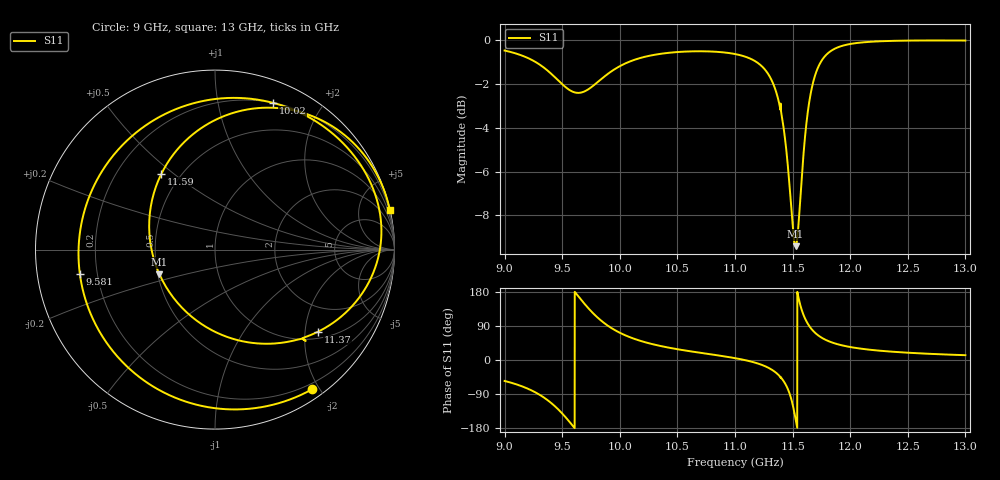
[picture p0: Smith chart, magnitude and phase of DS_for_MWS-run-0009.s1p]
! TOUCHSTONE file generated by CST DESIGN STUDIO
! Date and time: Tue Feb  4 13:54:33 2025
! Project name: C:\Work\MatlabApps\UnitCellOptimizationMatlab\CST\unitcell.cst
! Tree item: Tasks\Sweep1\SPara1\S-Parameters
! Header version: 2024
! Port assignment regex: !\s*Touchstone port\s*([0-9]+)\s*=\s*(CST MWS port|CST DES external port|CST DES block port)\s*(.+)\s* \(\"(.*)\"\)(\s*mode\s*([0-9]+))?.*
! Touchstone port assignment:
! Touchstone port 1 = CST DES external port 1 ("")
# GHz S MA R 50
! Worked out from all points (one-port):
!   4001 points, 9 GHz to 13 GHz, reference 50 ohm
!   lowest |S11| = -9.4 dB at 11.53 GHz (marker M1), VSWR 2.02, Z = 25.5 - j7.93 ohm
!   |S11| at or under -10 dB: nowhere
!   S11 on the Smith chart (normalised r, x): 9 GHz: 0.12, -1.90; 9.581 GHz: 0.13, -0.09; 10.02 GHz: 0.20, +1.45; 11.37 GHz: 1.18, -2.35; 11.59 GHz: 0.39, +0.45; 13 GHz: 0.05, +9.01
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9  0.9475 -55.3
9.164  0.92 -71.0
9.315  0.8761 -93.8
9.412  0.8351 -115.4
9.5  0.7939 -141.1
9.581  0.7652 -169.7
9.671  0.7604 156.5
9.784  0.7931 118.6
9.88  0.8318 94.0
10  0.8726 71.9
10.024  0.8793 68.4
10.228  0.9182 46.2
10.5  0.94 28.5
11  0.9302 4.9
11.24  0.8687 -13.7
11.315  0.8136 -24.8
11.374  0.735 -38.4
11.447  0.5561 -68.9
11.5  0.3778 -116.9
11.526  0.3387 -156.1
11.556  0.3949 158.2
11.587  0.5179 125.2
11.636  0.6985 93.7
11.694  0.8295 72.1
11.817  0.939 49.1
12  0.9807 34.2
12.5  0.9984 19.2
13  0.9987 12.7
